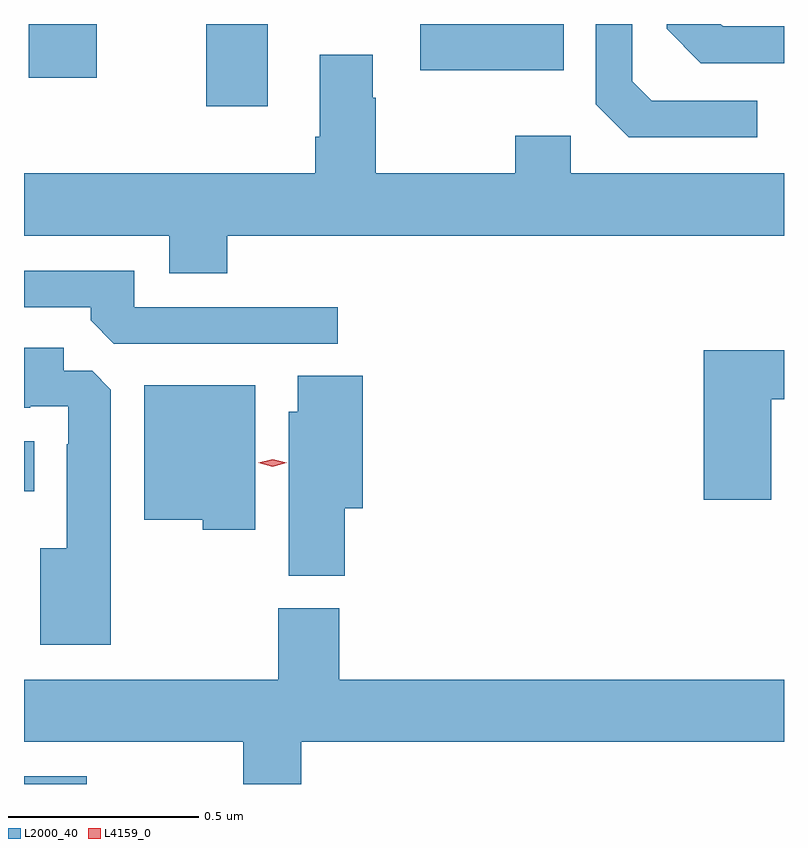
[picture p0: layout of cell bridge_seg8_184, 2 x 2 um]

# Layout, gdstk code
import gdstk
lib = gdstk.Library(unit=1e-6, precision=1e-09)
def R(c, l, rs):  # rectangles x0, y0, x1, y1
    for r in rs: c.add(gdstk.rectangle(r[:2], r[2:], *l))
def P(c, l, *ps):  # polygons
    for p in ps: c.add(gdstk.Polygon(p, *l))
L2000_40 = (2000, 40)
L4159_0 = (4159, 0)

bridge_seg8_184 = lib.new_cell('bridge_seg8_184')
R(bridge_seg8_184, L2000_40, [(273.877,1095.077,274.042,1095.097), (273.877,1095.848,273.904,1095.979), (274.357,1096.86,274.519,1097.077), (273.89,1096.935,274.068,1097.077), (274.92,1096.955,275.297,1097.077)])
P(bridge_seg8_184, L2000_40, [(275.877,1097.071),(275.717,1097.071),(275.711,1097.077),(275.568,1097.077),(275.568,1097.064),(275.658,1096.974),(275.877,1096.974)],
  [(275.806,1096.875),(275.529,1096.875),(275.478,1096.926),(275.478,1097.077),(275.382,1097.077),(275.382,1096.866),(275.469,1096.779),(275.806,1096.779)],
  [(274.412,1096.52),(275.877,1096.52),(275.877,1096.684),(275.316,1096.684),(275.316,1096.783),(275.17,1096.783),(275.17,1096.684),(274.803,1096.684),(274.803,1096.883),(274.795,1096.883),(274.795,1096.996),(274.655,1096.996),(274.655,1096.78),(274.643,1096.78),(274.643,1096.684),(273.877,1096.684),(273.877,1096.52),(274.259,1096.52),(274.259,1096.421),(274.412,1096.421)],
  [(274.702,1096.332),(274.167,1096.332),(274.167,1096.428),(273.877,1096.428),(273.877,1096.332),(274.052,1096.332),(274.052,1096.298),(274.113,1096.236),(274.702,1096.236)],
  [(274.105,1096.115),(274.056,1096.164),(273.982,1096.164),(273.982,1096.225),(273.877,1096.225),(273.877,1096.067),(273.893,1096.067),(273.893,1096.071),(273.993,1096.071),(273.993,1095.971),(273.989,1095.971),(273.989,1095.697),(273.92,1095.697),(273.92,1095.443),(274.105,1095.443)],
  [(275.844,1096.09),(275.877,1096.09),(275.877,1096.219),(275.666,1096.219),(275.666,1095.825),(275.844,1095.825)],
  [(274.721,1095.803),(274.769,1095.803),(274.769,1096.151),(274.598,1096.151),(274.598,1096.056),(274.574,1096.056),(274.574,1095.625),(274.721,1095.625)],
  [(274.486,1096.126),(274.193,1096.126),(274.193,1095.773),(274.347,1095.773),(274.347,1095.746),(274.486,1095.746)],
  [(274.607,1095.188),(275.877,1095.188),(275.877,1095.352),(274.706,1095.352),(274.706,1095.54),(274.546,1095.54),(274.546,1095.352),(273.877,1095.352),(273.877,1095.188),(274.454,1095.188),(274.454,1095.077),(274.607,1095.077)])
P(bridge_seg8_184, L4159_0, [(274.531,1095.912),(274.493,1095.922),(274.493,1095.922),(274.493,1095.923),(274.531,1095.932),(274.568,1095.923),(274.569,1095.923),(274.568,1095.922)])

lib.write_gds('bridge_seg8_184.gds')
